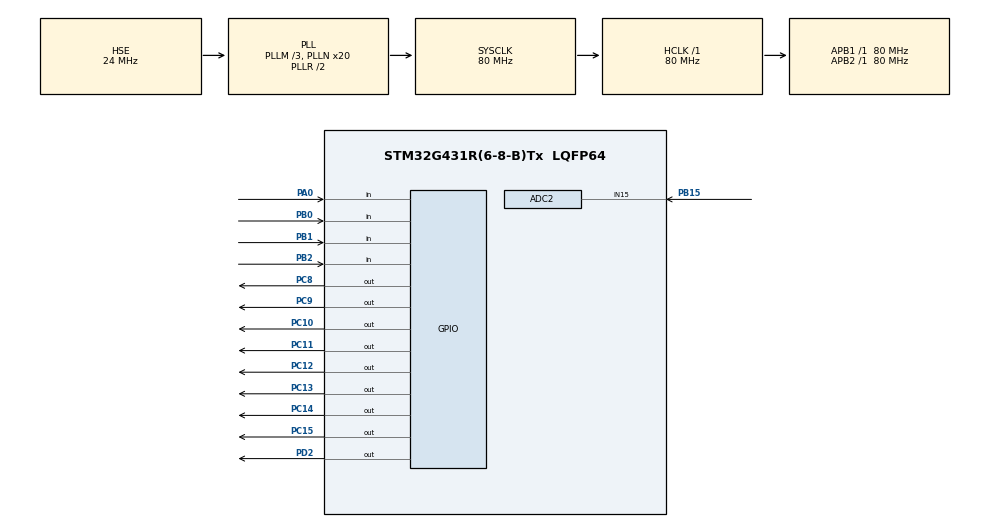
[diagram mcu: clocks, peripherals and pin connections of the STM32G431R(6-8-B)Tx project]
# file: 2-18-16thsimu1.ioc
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ADC2.Channel-0\#ChannelRegularConversion=ADC_CHANNEL_15
ADC2.NbrOfConversionFlag=1
ADC2.OffsetNumber-0\#ChannelRegularConversion=ADC_OFFSET_NONE
ADC2.Rank-0\#ChannelRegularConversion=1
ADC2.SamplingTime-0\#ChannelRegularConversion=ADC_SAMPLETIME_2CYCLES_5
Mcu.Family=STM32G4
Mcu.Name=STM32G431R(6-8-B)Tx
Mcu.Package=LQFP64
NVIC.ADC1_2_IRQn=true\:2\:0\:true\:false\:true\:true\:true\:true
NVIC.PriorityGroup=NVIC_PRIORITYGROUP_4
NVIC.RTC_Alarm_IRQn=true\:0\:0\:false\:false\:true\:true\:true\:true
NVIC.TIM7_IRQn=true\:1\:0\:true\:false\:true\:true\:true\:true
PA0.GPIO_Mode=GPIO_MODE_INPUT
PA0.GPIO_PuPd=GPIO_PULLUP
PA0.Signal=GPIO_Input
PA13.Mode=Serial_Wire
PA13.Signal=SYS_JTMS-SWDIO
PA14.Mode=Serial_Wire
PA14.Signal=SYS_JTCK-SWCLK
PB0.GPIO_Mode=GPIO_MODE_INPUT
PB0.GPIO_PuPd=GPIO_PULLUP
PB0.Signal=GPIO_Input
PB1.GPIO_Mode=GPIO_MODE_INPUT
PB1.GPIO_PuPd=GPIO_PULLUP
PB1.Signal=GPIO_Input
PB15.Mode=IN15-Single-Ended
PB15.Signal=ADC2_IN15
PB2.GPIO_Mode=GPIO_MODE_INPUT
PB2.GPIO_PuPd=GPIO_PULLUP
PB2.Signal=GPIO_Input
PC10.PinState=GPIO_PIN_SET
PC10.Signal=GPIO_Output
PC11.PinState=GPIO_PIN_SET
PC11.Signal=GPIO_Output
PC12.PinState=GPIO_PIN_SET
PC12.Signal=GPIO_Output
PC13.PinState=GPIO_PIN_SET
PC13.Signal=GPIO_Output
PC14-OSC32_IN.PinState=GPIO_PIN_SET
PC14-OSC32_IN.Signal=GPIO_Output
PC15-OSC32_OUT.PinState=GPIO_PIN_SET
PC15-OSC32_OUT.Signal=GPIO_Output
PC8.PinState=GPIO_PIN_SET
PC8.Signal=GPIO_Output
PC9.PinState=GPIO_PIN_SET
PC9.Signal=GPIO_Output
PD2.PinState=GPIO_PIN_SET
PD2.Signal=GPIO_Output
PF0-OSC_IN.Mode=HSE-External-Oscillator
PF0-OSC_IN.Signal=RCC_OSC_IN
PF1-OSC_OUT.Mode=HSE-External-Oscillator
PF1-OSC_OUT.Signal=RCC_OSC_OUT
ProjectManager.HeapSize=0x200
ProjectManager.StackSize=0x400
ProjectManager.TargetToolchain=MDK-ARM V5.32
RCC.ADC12Freq_Value=80000000
RCC.AHBFreq_Value=80000000
RCC.APB1Freq_Value=80000000
RCC.APB1TimFreq_Value=80000000
RCC.APB2Freq_Value=80000000
RCC.APB2TimFreq_Value=80000000
RCC.CortexFreq_Value=80000000
RCC.EXTERNAL_CLOCK_VALUE=12288000
RCC.HCLKFreq_Value=80000000
RCC.HSE_VALUE=24000000
RCC.HSI48_VALUE=48000000
RCC.HSI_VALUE=16000000
RCC.LSE_VALUE=32768
RCC.PLLM=RCC_PLLM_DIV3
RCC.PLLN=20
RCC.PLLSourceVirtual=RCC_PLLSOURCE_HSE
RCC.SYSCLKFreq_VALUE=80000000
RCC.SYSCLKSource=RCC_SYSCLKSOURCE_PLLCLK
RCC.USBFreq_Value=80000000
RCC.VCOOutputFreq_Value=160000000
RTC.Alarm-Alarm\ A=RTC_ALARM_A
RTC.AlarmMaskDateWeekDay-Alarm\ A=RTC_ALARMMASK_DATEWEEKDAY
RTC.AlarmMaskDateWeekDay_B-Alarm\ B=RTC_ALARMMASK_DATEWEEKDAY
RTC.AlarmMaskHours-Alarm\ A=RTC_ALARMMASK_HOURS
RTC.AlarmMaskHours_B-Alarm\ B=RTC_ALARMMASK_HOURS
RTC.AlarmMaskMinutes-Alarm\ A=RTC_ALARMMASK_MINUTES
RTC.Alarm_B-Alarm\ B=RTC_ALARM_B
RTC.Format=RTC_FORMAT_BIN
RTC.Hours=18
RTC.Hours_A-Alarm\ A=18
RTC.Hours_B-Alarm\ B=18
RTC.Minutes=15
RTC.Minutes_A-Alarm\ A=15
RTC.Minutes_B-Alarm\ B=15
RTC.Month=RTC_MONTH_APRIL
RTC.Seconds=25
RTC.Seconds_A-Alarm\ A=40
RTC.Seconds_B-Alarm\ B=40
RTC.WeekDay=RTC_WEEKDAY_WEDNESDAY
RTC.Year=25
TIM7.PeriodNoDither=1000-1
TIM7.Prescaler=80-1
VP_RTC_VS_RTC_Activate.Mode=RTC_Enabled
VP_RTC_VS_RTC_Alarm_A_Intern.Mode=Alarm A
VP_RTC_VS_RTC_Alarm_B_Intern.Mode=Alarm B
VP_RTC_VS_RTC_Calendar.Mode=RTC_Calendar
VP_SYS_VS_DBSignals.Mode=DisableDeadBatterySignals
VP_TIM7_VS_ClockSourceINT.Mode=Enable_Timer
board=custom

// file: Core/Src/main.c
/* USER CODE BEGIN Header */
/**
  ******************************************************************************
  * @file           : main.c
  * @brief          : Main program body
  ******************************************************************************
  * @attention
  *
  * Copyright (c) 2025 STMicroelectronics.
  * All rights reserved.
  *
  * This software is licensed under terms that can be found in the LICENSE file
  * in the root directory of this software component.
  * If no LICENSE file comes with this software, it is provided AS-IS.
  *
  ******************************************************************************
  */
/* USER CODE END Header */
#include "main.h"
#include "adc.h"
#include "rtc.h"
#include "tim.h"
#include "gpio.h"

/* USER CODE BEGIN Includes */
#include "headfile.h"

/* USER CODE END Includes */

void SystemClock_Config(void);

int main(void)
{

  /* MCU Configuration--------------------------------------------------------*/

  /* Reset of all peripherals, Initializes the Flash interface and the Systick. */
  HAL_Init();

  /* Configure the system clock */
  SystemClock_Config();

  /* Initialize all configured peripherals */
  MX_GPIO_Init();
  MX_TIM7_Init();
  MX_ADC2_Init();
  MX_RTC_Init();
  /* USER CODE BEGIN 2 */
	HAL_GPIO_WritePin(GPIOD, GPIO_PIN_2, GPIO_PIN_RESET);
	led_show(1,0);
	led_show(2,0);
	led_show(3,0);
	led_show(4,0);
	led_show(5,0);
	led_show(6,0);
	led_show(7,0);
	led_show(8,0);

	led_show(1,1);

	HAL_TIM_Base_Start_IT(&htim7);

	LCD_Init();
	LCD_Clear(Black);
	LCD_SetTextColor(White);
	LCD_SetBackColor(Black);

  /* USER CODE END 2 */

  /* Infinite loop */
  /* USER CODE BEGIN WHILE */
  while (1)
  {
    while_fun();
    /* USER CODE END WHILE */

  }
}

void SystemClock_Config(void)
{
  RCC_OscInitTypeDef RCC_OscInitStruct = {0};
  RCC_ClkInitTypeDef RCC_ClkInitStruct = {0};

  /** Configure the main internal regulator output voltage
  */
  HAL_PWREx_ControlVoltageScaling(PWR_REGULATOR_VOLTAGE_SCALE1);

  /** Initializes the RCC Oscillators according to the specified parameters
  * in the RCC_OscInitTypeDef structure.
  */
  RCC_OscInitStruct.OscillatorType = RCC_OSCILLATORTYPE_LSI|RCC_OSCILLATORTYPE_HSE;
  RCC_OscInitStruct.HSEState = RCC_HSE_ON;
  RCC_OscInitStruct.LSIState = RCC_LSI_ON;
  RCC_OscInitStruct.PLL.PLLState = RCC_PLL_ON;
  RCC_OscInitStruct.PLL.PLLSource = RCC_PLLSOURCE_HSE;
  RCC_OscInitStruct.PLL.PLLM = RCC_PLLM_DIV3;
  RCC_OscInitStruct.PLL.PLLN = 20;
  RCC_OscInitStruct.PLL.PLLP = RCC_PLLP_DIV2;
  RCC_OscInitStruct.PLL.PLLQ = RCC_PLLQ_DIV2;
  RCC_OscInitStruct.PLL.PLLR = RCC_PLLR_DIV2;
  if (HAL_RCC_OscConfig(&RCC_OscInitStruct) != HAL_OK)
  {
    Error_Handler();
  }

  /** Initializes the CPU, AHB and APB buses clocks
  */
  RCC_ClkInitStruct.ClockType = RCC_CLOCKTYPE_HCLK|RCC_CLOCKTYPE_SYSCLK
                              |RCC_CLOCKTYPE_PCLK1|RCC_CLOCKTYPE_PCLK2;
  RCC_ClkInitStruct.SYSCLKSource = RCC_SYSCLKSOURCE_PLLCLK;
  RCC_ClkInitStruct.AHBCLKDivider = RCC_SYSCLK_DIV1;
  RCC_ClkInitStruct.APB1CLKDivider = RCC_HCLK_DIV1;
  RCC_ClkInitStruct.APB2CLKDivider = RCC_HCLK_DIV1;

  if (HAL_RCC_ClockConfig(&RCC_ClkInitStruct, FLASH_LATENCY_2) != HAL_OK)
  {
    Error_Handler();
  }
}

void Error_Handler(void)
{
  __disable_irq();
  while (1)
  {
  }
}
